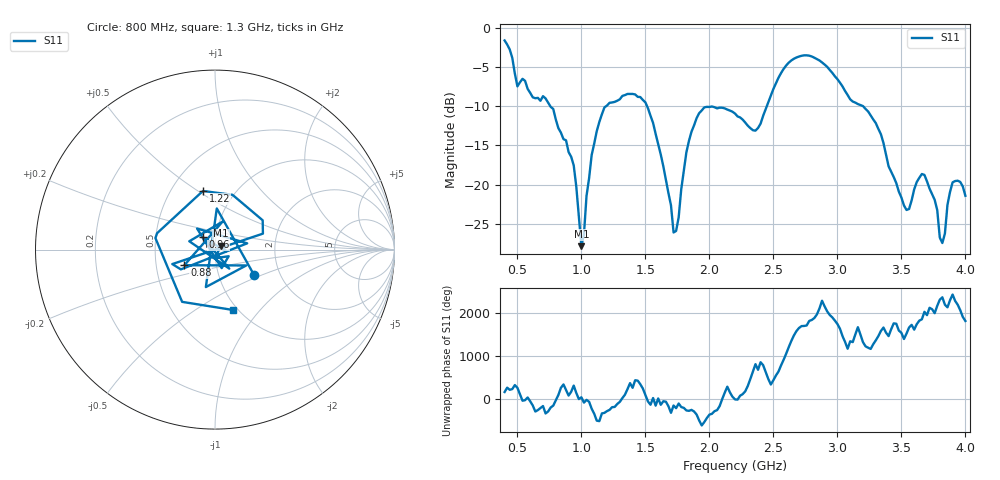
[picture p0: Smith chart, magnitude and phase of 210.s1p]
!Created with skrf (http://scikit-rf.org).
# Hz S RI R 50.0
!freq ReS11 ImS11
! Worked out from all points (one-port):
!   181 points, 400 MHz to 4 GHz, reference 50 ohm
!   lowest |S11| = -27.9 dB at 1 GHz (marker M1), VSWR 1.08, Z = 53.4 + j2.41 ohm
!   |S11| at or under -10 dB: 758 MHz to 1.19 GHz (432.3 MHz wide, 44.4 % of centre); 1.514 GHz to 2.447 GHz (933.7 MHz wide, 47.1 % of centre); 3.202 GHz to end of sweep
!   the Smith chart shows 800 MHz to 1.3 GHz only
!   S11 on the Smith chart (normalised r, x): 800 MHz: 1.48, -0.45; 880 MHz: 0.70, -0.13; 960 MHz: 0.86, +0.12; 1.22 GHz: 0.71, +0.52; 1.3 GHz: 0.95, -0.73
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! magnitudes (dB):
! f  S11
! 400 MHz  -1.6
! 500 MHz  -7.4
! 800 MHz  -11.7
! 860 MHz  -14.2
! 880 MHz  -14.3
! 960 MHz  -20.3
! 1 GHz  -27.9
! 1.08 GHz  -16.2
! 1.22 GHz  -9.5
! 1.3 GHz  -9.1
! 1.5 GHz  -9.5
! 1.64 GHz  -17.7
! 1.72 GHz  -26.1
! 1.76 GHz  -24.2
! 1.82 GHz  -15.9
! 1.92 GHz  -10.9
! 2.2 GHz  -10.9
! 2.36 GHz  -13.1
! 2.66 GHz  -3.9
! 2.86 GHz  -4.1
! 3.1 GHz  -9.1
! 3.3 GHz  -12.1
! 3.56 GHz  -23.1
! 3.68 GHz  -18.8
! 3.76 GHz  -22.0
! 3.82 GHz  -27.5
! 3.9 GHz  -19.7
! 4 GHz  -21.4
